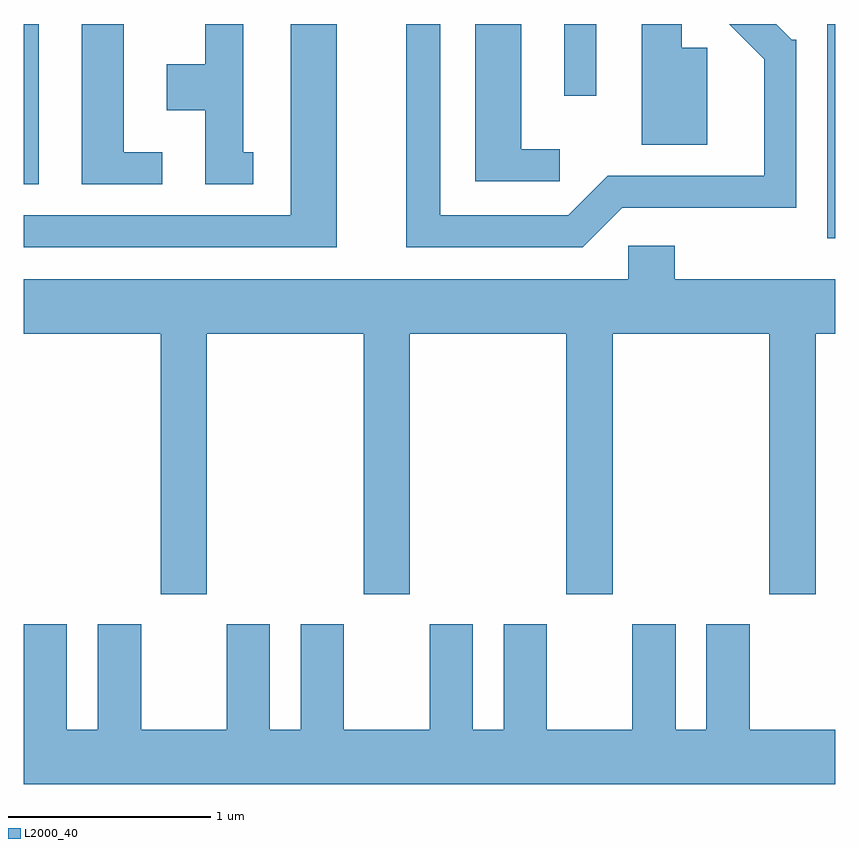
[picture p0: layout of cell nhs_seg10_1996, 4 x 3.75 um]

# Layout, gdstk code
import gdstk
lib = gdstk.Library(unit=1e-6, precision=1e-09)
def R(c, l, rs):  # rectangles x0, y0, x1, y1
    for r in rs: c.add(gdstk.rectangle(r[:2], r[2:], *l))
def P(c, l, *ps):  # polygons
    for p in ps: c.add(gdstk.Polygon(p, *l))
L2000_40 = (2000, 40)

nhs_seg10_1996 = lib.new_cell('nhs_seg10_1996')
R(nhs_seg10_1996, L2000_40, [(247.571,2145.466,247.611,2146.522), (243.611,2145.731,243.684,2146.522), (246.276,2146.168,246.434,2146.522)])
P(nhs_seg10_1996, L2000_40, [(246.253,2145.904),(246.064,2145.904),(246.064,2146.522),(245.836,2146.522),(245.836,2145.746),(246.253,2145.746)],
  [(246.979,2146.404),(246.854,2146.404),(246.854,2146.522),(246.656,2146.522),(246.656,2145.926),(246.979,2145.926)],
  [(246.562,2145.616),(247.419,2145.616),(247.419,2146.444),(247.397,2146.444),(247.319,2146.522),(247.088,2146.522),(247.261,2146.349),(247.261,2145.774),(246.489,2145.774),(246.294,2145.579),(245.664,2145.579),(245.664,2146.522),(245.496,2146.522),(245.496,2145.421),(246.367,2145.421)],
  [(245.154,2146.522),(244.926,2146.522),(244.926,2145.579),(243.611,2145.579),(243.611,2145.421),(245.154,2145.421)],
  [(244.743,2145.889),(244.694,2145.889),(244.694,2146.522),(244.506,2146.522),(244.506,2146.324),(244.316,2146.324),(244.316,2146.096),(244.506,2146.096),(244.506,2145.731),(244.743,2145.731)],
  [(244.293,2145.889),(244.104,2145.889),(244.104,2146.522),(243.896,2146.522),(243.896,2145.731),(244.293,2145.731)],
  [(247.286,2143.711),(247.514,2143.711),(247.514,2144.996),(247.611,2144.996),(247.611,2145.264),(246.819,2145.264),(246.819,2145.429),(246.591,2145.429),(246.591,2145.264),(243.611,2145.264),(243.611,2144.996),(244.286,2144.996),(244.286,2143.711),(244.514,2143.711),(244.514,2144.996),(245.286,2144.996),(245.286,2143.711),(245.514,2143.711),(245.514,2144.996),(246.286,2144.996),(246.286,2143.711),(246.514,2143.711),(246.514,2144.996),(247.286,2144.996)],
  [(247.611,2143.044),(247.189,2143.044),(247.189,2143.564),(246.976,2143.564),(246.976,2143.044),(246.824,2143.044),(246.824,2143.564),(246.611,2143.564),(246.611,2143.044),(246.189,2143.044),(246.189,2143.564),(245.976,2143.564),(245.976,2143.044),(245.824,2143.044),(245.824,2143.564),(245.611,2143.564),(245.611,2143.044),(245.189,2143.044),(245.189,2143.564),(244.976,2143.564),(244.976,2143.044),(244.824,2143.044),(244.824,2143.564),(244.611,2143.564),(244.611,2143.044),(244.189,2143.044),(244.189,2143.564),(243.976,2143.564),(243.976,2143.044),(243.824,2143.044),(243.824,2143.564),(243.611,2143.564),(243.611,2142.776),(247.611,2142.776)])

lib.write_gds('nhs_seg10_1996.gds')
